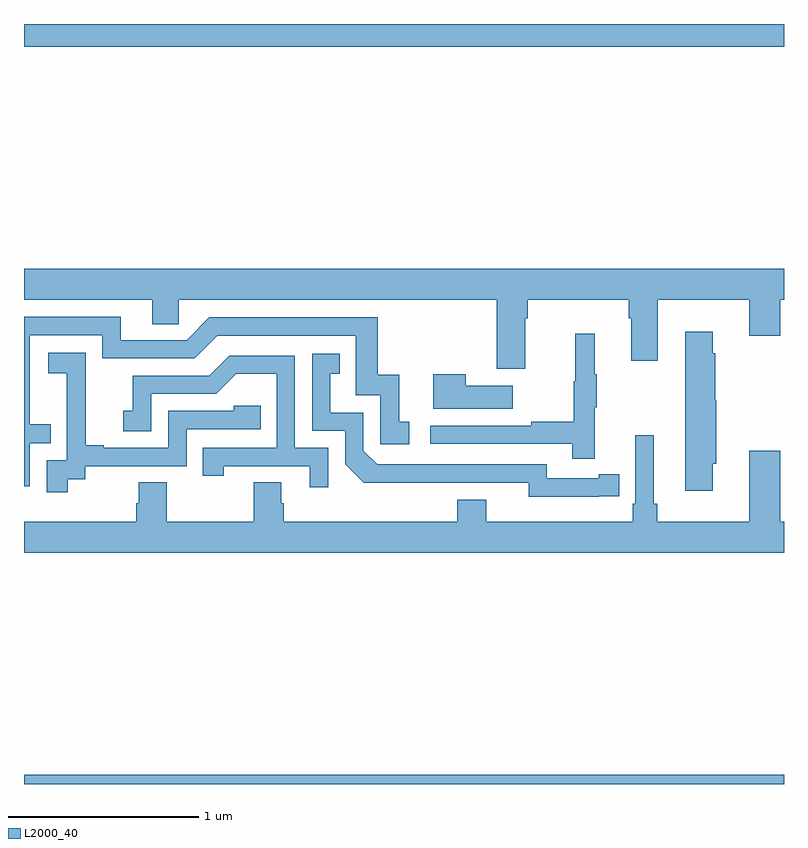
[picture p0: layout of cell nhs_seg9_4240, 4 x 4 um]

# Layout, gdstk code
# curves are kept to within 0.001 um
import gdstk
lib = gdstk.Library(unit=1e-6, precision=1e-09)
def R(c, l, rs):  # rectangles x0, y0, x1, y1
    for r in rs: c.add(gdstk.rectangle(r[:2], r[2:], *l))
def P(c, l, *ps):  # polygons
    for p in ps: c.add(gdstk.Polygon(p, *l))
L2000_40 = (2000, 40)

nhs_seg9_4240 = lib.new_cell('nhs_seg9_4240')
R(nhs_seg9_4240, L2000_40, [(353,1232.5,357,1232.548), (353,1236.38,357,1236.5)])
P(nhs_seg9_4240, L2000_40, [(355.639,1234.952),(355.652,1234.952),(355.652,1235.048),(356.183,1235.048),(356.183,1234.952),(356.195,1234.952),(356.195,1234.728),(356.335,1234.728),(356.335,1235.048),(356.816,1235.048),(356.816,1234.86),(356.98,1234.86),(356.98,1235.048),(357,1235.048),(357,1235.212),(353,1235.212),(353,1235.048),(353.675,1235.048),(353.675,1234.921),(353.814,1234.921),(353.814,1235.048),(355.487,1235.048),(355.487,1234.686),(355.639,1234.686)],
  [(353.031,1234.293),(353.141,1234.293),(353.141,1234.394),(353.031,1234.394),(353.031,1234.863),(353.412,1234.863),(353.412,1234.74),(353.898,1234.74),(354.018,1234.86),(354.747,1234.86),(354.747,1234.545),(354.876,1234.545),(354.876,1234.287),(355.027,1234.287),(355.027,1234.407),(354.974,1234.407),(354.974,1234.654),(354.863,1234.654),(354.863,1234.956),(353.976,1234.956),(353.856,1234.836),(353.509,1234.836),(353.509,1234.959),(353,1234.959),(353,1234.068),(353.031,1234.068)],
  [(356.626,1234.185),(356.644,1234.185),(356.644,1234.521),(356.639,1234.521),(356.639,1234.766),(356.626,1234.766),(356.626,1234.879),(356.48,1234.879),(356.48,1234.044),(356.626,1234.044)],
  [(356.003,1234.483),(356.014,1234.483),(356.014,1234.657),(356.003,1234.657),(356.003,1234.87),(355.9,1234.87),(355.9,1234.62),(355.893,1234.62),(355.893,1234.406),(355.669,1234.406),(355.669,1234.386),(355.137,1234.386),(355.137,1234.29),(355.885,1234.29),(355.885,1234.212),(356.003,1234.212)],
  [(353.23,1234.105),(353.322,1234.105),(353.322,1234.173),(353.856,1234.173),(353.856,1234.368),(354.245,1234.368),(354.245,1234.491),(354.105,1234.491),(354.105,1234.464),(353.76,1234.464),(353.76,1234.269),(353.419,1234.269),(353.419,1234.282),(353.324,1234.282),(353.324,1234.565),(353.325,1234.565),(353.325,1234.771),(353.127,1234.771),(353.127,1234.661),(353.225,1234.661),(353.225,1234.433),(353.226,1234.433),(353.226,1234.203),(353.121,1234.203),(353.121,1234.035),(353.23,1234.035)],
  [(356.024,1234.014),(356.132,1234.014),(356.132,1234.13),(356.024,1234.13),(356.024,1234.11),(355.752,1234.11),(355.752,1234.182),(354.858,1234.182),(354.786,1234.254),(354.786,1234.455),(354.613,1234.455),(354.613,1234.659),(354.662,1234.659),(354.662,1234.765),(354.516,1234.765),(354.516,1234.359),(354.69,1234.359),(354.69,1234.182),(354.788,1234.085),(355.656,1234.086),(355.656,1234.013)],
  [(354.6,1234.269),(354.426,1234.269),(354.426,1234.755),(354.08,1234.755),(353.975,1234.65),(353.572,1234.65),(353.572,1234.465),(353.523,1234.465),(353.523,1234.356),(353.67,1234.356),(353.67,1234.554),(354.012,1234.554),(354.116,1234.658),(354.33,1234.658),(354.33,1234.269),(353.941,1234.269),(353.941,1234.122),(354.052,1234.122),(354.052,1234.173),(354.503,1234.173),(354.503,1234.062),(354.6,1234.062)],
  [(355.573,1234.597),(355.325,1234.597),(355.325,1234.657),(355.154,1234.657),(355.154,1234.475),(355.573,1234.475)],
  [(357,1233.88),(356.98,1233.88),(356.98,1234.255),(356.816,1234.255),(356.816,1233.88),(356.333,1233.88),(356.333,1233.976),(356.314,1233.976),(356.314,1234.336),(356.217,1234.336),(356.217,1233.976),(356.204,1233.976),(356.204,1233.88),(355.432,1233.88),(355.432,1233.997),(355.28,1233.997),(355.28,1233.88),(354.368,1233.88),(354.368,1233.978),(354.355,1233.978),(354.355,1234.088),(354.208,1234.088),(354.208,1233.88),(353.751,1233.88),(353.751,1234.088),(353.603,1234.088),(353.603,1233.978),(353.591,1233.978),(353.591,1233.88),(353,1233.88),(353,1233.716),(357,1233.716)])

lib.write_gds('nhs_seg9_4240.gds')
